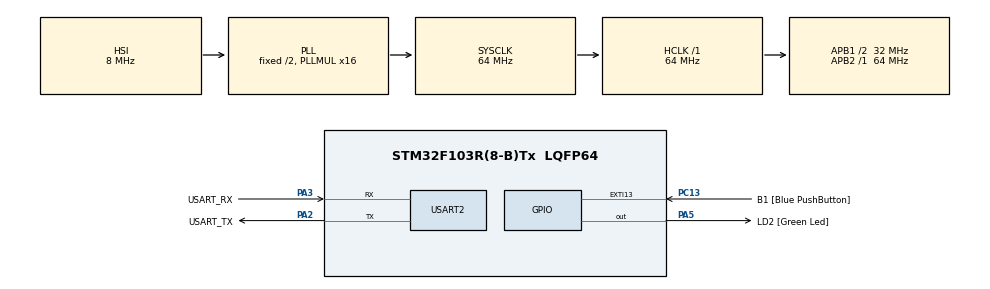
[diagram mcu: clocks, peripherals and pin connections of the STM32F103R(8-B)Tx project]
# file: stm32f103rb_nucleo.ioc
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FREERTOS.INCLUDE_vTaskDelayUntil=1
FREERTOS.Tasks01=defaultTask,0,128,StartDefaultTask,Default,NULL,Dynamic,NULL,NULL
Mcu.Family=STM32F1
Mcu.Name=STM32F103R(8-B)Tx
Mcu.Package=LQFP64
NVIC.EXTI15_10_IRQn=true\:5\:0\:false\:false\:true\:true\:true\:true\:true
NVIC.PriorityGroup=NVIC_PRIORITYGROUP_4
NVIC.TIM4_IRQn=true\:15\:0\:false\:false\:true\:false\:false\:true\:true
NVIC.TimeBase=TIM4_IRQn
NVIC.TimeBaseIP=TIM4
PA13.GPIO_Label=TMS
PA13.Mode=Serial_Wire
PA13.Signal=SYS_JTMS-SWDIO
PA14.GPIO_Label=TCK
PA14.Mode=Serial_Wire
PA14.Signal=SYS_JTCK-SWCLK
PA2.GPIO_Label=USART_TX
PA2.GPIO_Mode=GPIO_MODE_AF_PP
PA2.GPIO_PuPd=GPIO_NOPULL
PA2.GPIO_Speed=GPIO_SPEED_FREQ_LOW
PA2.Mode=Asynchronous
PA2.Signal=USART2_TX
PA3.GPIO_Label=USART_RX
PA3.GPIO_Mode=GPIO_MODE_AF_PP
PA3.GPIO_PuPd=GPIO_NOPULL
PA3.GPIO_Speed=GPIO_SPEED_FREQ_LOW
PA3.Mode=Asynchronous
PA3.Signal=USART2_RX
PA5.GPIO_Label=LD2 [Green Led]
PA5.GPIO_ModeDefaultOutputPP=GPIO_MODE_OUTPUT_PP
PA5.GPIO_PuPd=GPIO_NOPULL
PA5.GPIO_Speed=GPIO_SPEED_FREQ_LOW
PA5.Signal=GPIO_Output
PB3.GPIO_Label=SWO
PB3.Signal=SYS_JTDO-TRACESWO
PC13-TAMPER-RTC.GPIO_Label=B1 [Blue PushButton]
PC13-TAMPER-RTC.GPIO_ModeDefaultEXTI=GPIO_MODE_IT_FALLING
PC13-TAMPER-RTC.GPIO_PuPd=GPIO_PULLUP
PC13-TAMPER-RTC.Signal=GPXTI13
PC14-OSC32_IN.Mode=LSE-External-Oscillator
PC14-OSC32_IN.Signal=RCC_OSC32_IN
PC15-OSC32_OUT.Mode=LSE-External-Oscillator
PC15-OSC32_OUT.Signal=RCC_OSC32_OUT
PD0-OSC_IN.Mode=HSE-External-Clock-Source
PD0-OSC_IN.Signal=RCC_OSC_IN
PD1-OSC_OUT.Mode=HSE-External-Clock-Source
PD1-OSC_OUT.Signal=RCC_OSC_OUT
ProjectManager.HeapSize=0x200
ProjectManager.StackSize=0x400
ProjectManager.TargetToolchain=CMake
RCC.AHBFreq_Value=64000000
RCC.APB1CLKDivider=RCC_HCLK_DIV2
RCC.APB1Freq_Value=32000000
RCC.APB1TimFreq_Value=64000000
RCC.APB2Freq_Value=64000000
RCC.APB2TimFreq_Value=64000000
RCC.HCLKFreq_Value=64000000
RCC.PLLMUL=RCC_PLL_MUL16
RCC.RTCClockSelection=RCC_RTCCLKSOURCE_LSE
RCC.SYSCLKFreq_VALUE=64000000
RCC.SYSCLKSource=RCC_SYSCLKSOURCE_PLLCLK
RCC.USBFreq_Value=64000000
USART2.VirtualMode=VM_ASYNC
VP_FREERTOS_VS_CMSIS_V1.Mode=CMSIS_V1
VP_SYS_VS_tim4.Mode=TIM4
board=NUCLEO-F103RB

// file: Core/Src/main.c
/* USER CODE BEGIN Header */
/**
  ******************************************************************************
  * @file           : main.c
  * @brief          : Main program body
  ******************************************************************************
  * @attention
  *
  * Copyright (c) 2026 STMicroelectronics.
  * All rights reserved.
  *
  * This software is licensed under terms that can be found in the LICENSE file
  * in the root directory of this software component.
  * If no LICENSE file comes with this software, it is provided AS-IS.
  *
  ******************************************************************************
  */
/* USER CODE END Header */
#include "main.h"
#include "cmsis_os.h"

/* USER CODE BEGIN Includes */
#include <stdio.h>
#include <string.h>
#include "FreeRTOS.h"
#include "task.h"
#include "queue.h"
#include "semphr.h"
/* USER CODE END Includes */

UART_HandleTypeDef huart2;

osThreadId defaultTaskHandle;
/* USER CODE BEGIN PV */
TaskHandle_t mainTaskHandle;
TaskHandle_t queueInterruptTaskHandle;
TaskHandle_t semaphoreInterruptTaskHandle;
TaskHandle_t notifyIntterruptTaskHandle;
QueueHandle_t xQueue;
SemaphoreHandle_t xMutex;
SemaphoreHandle_t xBinarySemaphore;
/* USER CODE END PV */

void SystemClock_Config(void);
static void MX_GPIO_Init(void);
static void MX_USART2_UART_Init(void);
void StartDefaultTask(void const * argument);

/* USER CODE BEGIN PFP */
void StartMainTask(void *pvParameters);
void StartQueueInterruptTask(void *pvParameters);
void StartSemaphoreIntterruptTask(void *pvParameters);
void StartNotifyInterruptTask(void *pvParameters);
/* USER CODE END PFP */

int main(void)
{

  /* MCU Configuration--------------------------------------------------------*/

  /* Reset of all peripherals, Initializes the Flash interface and the Systick. */
  HAL_Init();

  /* Configure the system clock */
  SystemClock_Config();

  /* Initialize all configured peripherals */
  MX_GPIO_Init();
  MX_USART2_UART_Init();

  /* USER CODE BEGIN RTOS_MUTEX */
  /* add mutexes, ... */
  xMutex = xSemaphoreCreateMutex();
  configASSERT(xMutex);
  /* USER CODE END RTOS_MUTEX */

  /* USER CODE BEGIN RTOS_SEMAPHORES */
  /* add semaphores, ... */
  xBinarySemaphore = xSemaphoreCreateBinary();
  configASSERT(xBinarySemaphore);
  /* USER CODE END RTOS_SEMAPHORES */

  /* USER CODE BEGIN RTOS_QUEUES */
  /* add queues, ... */
  xQueue = xQueueCreate(10, sizeof(uint8_t));
  configASSERT(xQueue);
  /* USER CODE END RTOS_QUEUES */

  /* Create the thread(s) */
  /* definition and creation of defaultTask */
  osThreadDef(defaultTask, StartDefaultTask, osPriorityNormal, 0, 128);
  defaultTaskHandle = osThreadCreate(osThread(defaultTask), NULL);

  /* USER CODE BEGIN RTOS_THREADS */
  /* add threads, ... */
  configASSERT(xTaskCreate(StartMainTask, "MainTask", 128, NULL, 5, &mainTaskHandle));
  configASSERT(xTaskCreate(StartQueueInterruptTask, "QueueInterruptTask", 128, NULL, 5, &queueInterruptTaskHandle));
  configASSERT(xTaskCreate(StartSemaphoreIntterruptTask, "SemaphoreInterruptTask", 128, NULL, 5, &semaphoreInterruptTaskHandle));
  configASSERT(xTaskCreate(StartNotifyInterruptTask, "NotifyIntterruptTask", 128, NULL, 5, &notifyIntterruptTaskHandle));
  // vTaskStartScheduler();
  /* USER CODE END RTOS_THREADS */

  /* Start scheduler */
  osKernelStart();

  /* We should never get here as control is now taken by the scheduler */

  /* Infinite loop */
  while (1) {

  }
}

void SystemClock_Config(void)
{
  RCC_OscInitTypeDef RCC_OscInitStruct = {0};
  RCC_ClkInitTypeDef RCC_ClkInitStruct = {0};

  /** Initializes the RCC Oscillators according to the specified parameters
  * in the RCC_OscInitTypeDef structure.
  */
  RCC_OscInitStruct.OscillatorType = RCC_OSCILLATORTYPE_HSI;
  RCC_OscInitStruct.HSIState = RCC_HSI_ON;
  RCC_OscInitStruct.HSICalibrationValue = RCC_HSICALIBRATION_DEFAULT;
  RCC_OscInitStruct.PLL.PLLState = RCC_PLL_ON;
  RCC_OscInitStruct.PLL.PLLSource = RCC_PLLSOURCE_HSI_DIV2;
  RCC_OscInitStruct.PLL.PLLMUL = RCC_PLL_MUL16;
  if (HAL_RCC_OscConfig(&RCC_OscInitStruct) != HAL_OK)
  {
    Error_Handler();
  }

  /** Initializes the CPU, AHB and APB buses clocks
  */
  RCC_ClkInitStruct.ClockType = RCC_CLOCKTYPE_HCLK|RCC_CLOCKTYPE_SYSCLK
                              |RCC_CLOCKTYPE_PCLK1|RCC_CLOCKTYPE_PCLK2;
  RCC_ClkInitStruct.SYSCLKSource = RCC_SYSCLKSOURCE_PLLCLK;
  RCC_ClkInitStruct.AHBCLKDivider = RCC_SYSCLK_DIV1;
  RCC_ClkInitStruct.APB1CLKDivider = RCC_HCLK_DIV2;
  RCC_ClkInitStruct.APB2CLKDivider = RCC_HCLK_DIV1;

  if (HAL_RCC_ClockConfig(&RCC_ClkInitStruct, FLASH_LATENCY_2) != HAL_OK)
  {
    Error_Handler();
  }
}

static void MX_USART2_UART_Init(void)
{

  huart2.Instance = USART2;
  huart2.Init.BaudRate = 115200;
  huart2.Init.WordLength = UART_WORDLENGTH_8B;
  huart2.Init.StopBits = UART_STOPBITS_1;
  huart2.Init.Parity = UART_PARITY_NONE;
  huart2.Init.Mode = UART_MODE_TX_RX;
  huart2.Init.HwFlowCtl = UART_HWCONTROL_NONE;
  huart2.Init.OverSampling = UART_OVERSAMPLING_16;
  if (HAL_UART_Init(&huart2) != HAL_OK)
  {
    Error_Handler();
  }

}

static void MX_GPIO_Init(void)
{
  GPIO_InitTypeDef GPIO_InitStruct = {0};

  /* GPIO Ports Clock Enable */
  __HAL_RCC_GPIOC_CLK_ENABLE();
  __HAL_RCC_GPIOD_CLK_ENABLE();
  __HAL_RCC_GPIOA_CLK_ENABLE();
  __HAL_RCC_GPIOB_CLK_ENABLE();

  /*Configure GPIO pin Output Level */
  HAL_GPIO_WritePin(LD2_GPIO_Port, LD2_Pin, GPIO_PIN_RESET);

  /*Configure GPIO pin : B1_Pin */
  GPIO_InitStruct.Pin = B1_Pin;
  GPIO_InitStruct.Mode = GPIO_MODE_IT_FALLING;
  GPIO_InitStruct.Pull = GPIO_PULLUP;
  HAL_GPIO_Init(B1_GPIO_Port, &GPIO_InitStruct);

  /*Configure GPIO pin : LD2_Pin */
  GPIO_InitStruct.Pin = LD2_Pin;
  GPIO_InitStruct.Mode = GPIO_MODE_OUTPUT_PP;
  GPIO_InitStruct.Pull = GPIO_NOPULL;
  GPIO_InitStruct.Speed = GPIO_SPEED_FREQ_LOW;
  HAL_GPIO_Init(LD2_GPIO_Port, &GPIO_InitStruct);

  /* EXTI interrupt init*/
  HAL_NVIC_SetPriority(EXTI15_10_IRQn, 5, 0);
  HAL_NVIC_EnableIRQ(EXTI15_10_IRQn);

}

/* USER CODE BEGIN 4 */
void StartMainTask(void *pvParameters) {
  TickType_t xPreviousWakeTime = xTaskGetTickCount();
  for (;;) {
    if (xSemaphoreTake(xMutex, portMAX_DELAY) == pdPASS) {
      char buffer[64];
      snprintf(buffer, sizeof(buffer), "Main task running..\r\n");
      HAL_UART_Transmit(&huart2, (uint8_t *)buffer, strlen(buffer), HAL_MAX_DELAY);
      xSemaphoreGive(xMutex);
    }
    vTaskDelayUntil(&xPreviousWakeTime, pdMS_TO_TICKS(1000));
    // taskYIELD();
  }
  vTaskDelete(NULL);
}

void StartQueueInterruptTask(void *pvParameters) {
  uint8_t count = 0;
  for (;;) {
    if (xQueueReceive(xQueue, &count, portMAX_DELAY) == pdPASS) {
      if (xSemaphoreTake(xMutex, portMAX_DELAY) == pdPASS) {
        char buffer[64];
        snprintf(buffer, sizeof(buffer), "Interrupt task running..(cnt: %d)\r\n", count);
        HAL_UART_Transmit(&huart2, (uint8_t *)buffer, strlen(buffer), HAL_MAX_DELAY);
        xSemaphoreGive(xMutex);
      }
    }
    // taskYIELD();
  }
  vTaskDelete(NULL);
}

void StartSemaphoreIntterruptTask(void *pvParameters) {
  for (;;) {
    if (xSemaphoreTake(xBinarySemaphore, portMAX_DELAY) == pdPASS) {
      HAL_GPIO_TogglePin(LD2_GPIO_Port, LD2_Pin);
    }
    // taskYIELD();
  }
  vTaskDelete(NULL);
}

void StartNotifyInterruptTask(void *pvParameters) {
  uint32_t count = 0;
  for (;;) {
    if (xTaskNotifyWait(0, 0xFFFFFFFF, &count, portMAX_DELAY) == pdPASS) {
      if (xSemaphoreTake(xMutex, portMAX_DELAY) == pdPASS) {
        char buffer[64];
        snprintf(buffer, sizeof(buffer), "Notify Interrupt task running..(cnt: %ld)\r\n", count);
        HAL_UART_Transmit(&huart2, (uint8_t *)buffer, strlen(buffer), HAL_MAX_DELAY);
        xSemaphoreGive(xMutex);
      }
    }
    // taskYIELD();
  }
  vTaskDelete(NULL);
}

void HAL_GPIO_EXTI_Callback(uint16_t GPIO_Pin) {
  static uint8_t count = 0;
  BaseType_t xHigherPriorityTaskWoken1 = pdFALSE;
  BaseType_t xHigherPriorityTaskWoken2 = pdFALSE;
  BaseType_t xHigherPriorityTaskWoken3 = pdFALSE;
  if (GPIO_Pin == B1_Pin) {
    count++;
    xQueueSendFromISR(xQueue, &count, &xHigherPriorityTaskWoken1);
    xSemaphoreGiveFromISR(xBinarySemaphore, &xHigherPriorityTaskWoken2);
    xTaskNotifyFromISR(notifyIntterruptTaskHandle, count, eSetValueWithOverwrite, &xHigherPriorityTaskWoken3);
    portYIELD_FROM_ISR(xHigherPriorityTaskWoken1 || xHigherPriorityTaskWoken2 || xHigherPriorityTaskWoken3);
  }
}
/* USER CODE END 4 */

void StartDefaultTask(void const * argument)
{
  /* USER CODE BEGIN 5 */
  vTaskDelete(NULL);
  /* Infinite loop */
  for (;;) {
    osDelay(1);
  }
  /* USER CODE END 5 */
}

void HAL_TIM_PeriodElapsedCallback(TIM_HandleTypeDef *htim)
{
  if (htim->Instance == TIM4)
  {
    HAL_IncTick();
  }
}

void Error_Handler(void)
{
  __disable_irq();
  while (1) {
  }
}
